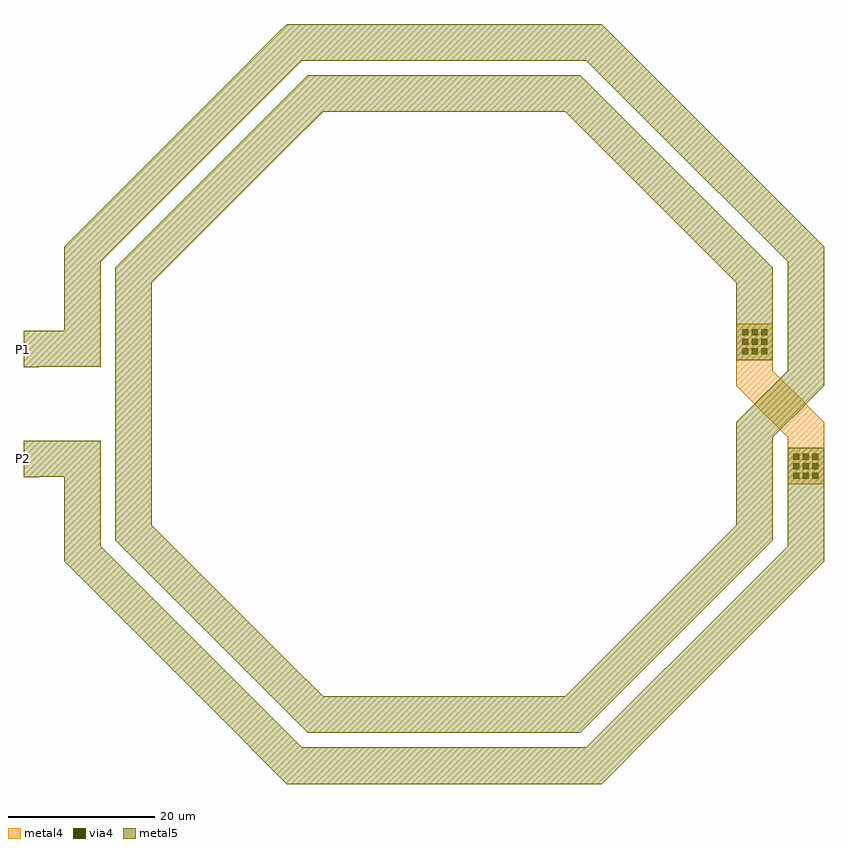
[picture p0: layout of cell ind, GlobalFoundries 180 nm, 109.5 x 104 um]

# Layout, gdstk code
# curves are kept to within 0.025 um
import gdstk
lib = gdstk.Library(unit=1e-6, precision=5e-09)
def R(c, l, rs):  # rectangles x0, y0, x1, y1
    for r in rs: c.add(gdstk.rectangle(r[:2], r[2:], *l))
def A(c, l, x, y, w, h, nx, ny, dx, dy):  # array of equal rectangles
    R(c, l, [(x+i*dx, y+j*dy, x+i*dx+w, y+j*dy+h) for i in range(nx) for j in range(ny)])
def P(c, l, *ps):  # polygons
    for p in ps: c.add(gdstk.Polygon(p, *l))
via4 = (41, 0)
metal4 = (46, 0)
metal5 = (81, 0)

ind = lib.new_cell('ind')
A(ind, via4, 90.3, -10.2, 0.8, 0.8, 3, 3, 1.3, 1.3)
A(ind, via4, 83.3, 6.8, 0.8, 0.8, 3, 3, 1.3, 1.3)
P(ind, metal4, [(94.5,-9.125),(94.5,-2.465),(87.5,4.535),(87.5,11),(82.5,11),(82.5,2.465),(89.5,-4.535),(89.5,-11),(94.5,-11)])
P(ind, metal5, [(-2.5,-4.4),(-2.5,-18.64),(23.86,-45),(61.14,-45),(87.5,-18.64),(87.5,-6),(82.5,-6),(82.5,-16.57),(59.07,-40),(25.93,-40),(2.5,-16.57),(2.5,0),(-2.5,0)],
  [(2.5,4.4),(2.5,16.57),(25.93,40),(59.07,40),(82.5,16.57),(82.5,6),(87.5,6),(87.5,18.64),(61.14,45),(23.86,45),(-2.5,18.64),(-2.5,0),(2.5,0)],
  [(-13,-10),(-9.5,-10),(-9.5,-21.54),(20.96,-52),(64.04,-52),(94.5,-21.54),(94.5,-6),(89.5,-6),(89.5,-19.47),(61.97,-47),(23.03,-47),(-4.5,-19.47),(-4.5,-5),(-15,-5),(-15,-10)],
  [(-13,5),(-4.5,5),(-4.5,19.47),(23.03,47),(61.97,47),(89.5,19.47),(89.5,4.535),(82.5,-2.465),(82.5,-6),(87.5,-6),(87.5,-4.535),(94.5,2.465),(94.5,21.54),(64.04,52),(20.96,52),(-9.5,21.54),(-9.5,10),(-15,10),(-15,5)])
ind.add(gdstk.Label('P1', (-15,7.5), layer=81, texttype=0))
ind.add(gdstk.Label('P2', (-15,-7.5), layer=81, texttype=0))

lib.write_gds('ind.gds')
